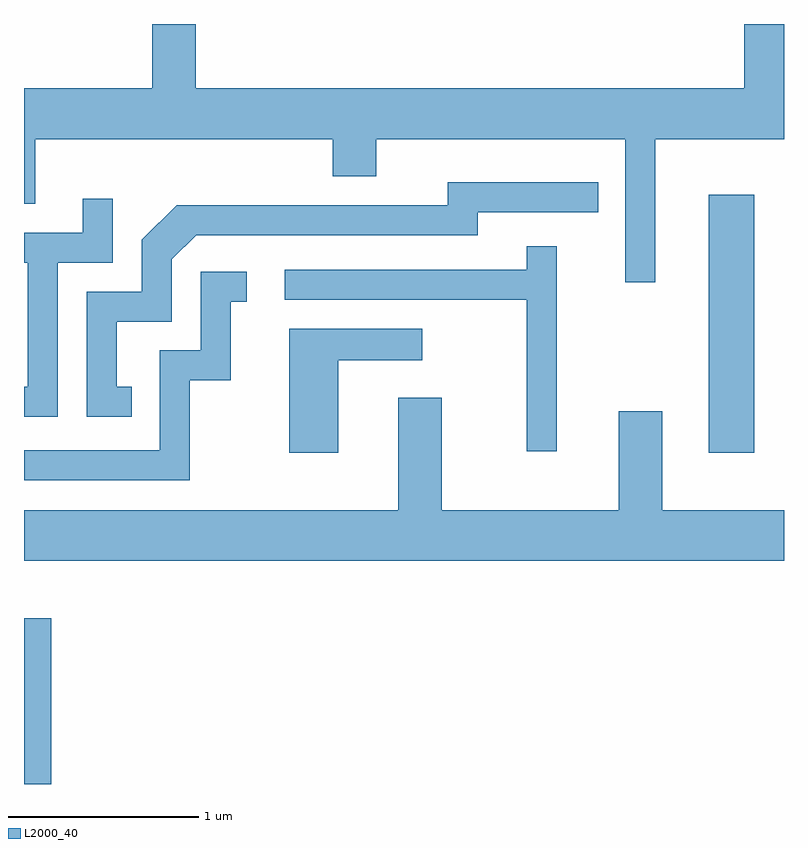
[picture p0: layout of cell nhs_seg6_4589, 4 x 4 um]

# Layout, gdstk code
import gdstk
lib = gdstk.Library(unit=1e-6, precision=1e-09)
def R(c, l, rs):  # rectangles x0, y0, x1, y1
    for r in rs: c.add(gdstk.rectangle(r[:2], r[2:], *l))
def P(c, l, *ps):  # polygons
    for p in ps: c.add(gdstk.Polygon(p, *l))
L2000_40 = (2000, 40)

nhs_seg6_4589 = lib.new_cell('nhs_seg6_4589')
R(nhs_seg6_4589, L2000_40, [(325.611,1582.162,325.754,1583.034), (329.216,1583.906,329.454,1585.264)])
P(nhs_seg6_4589, L2000_40, [(328.934,1585.556),(329.611,1585.556),(329.611,1586.162),(329.401,1586.162),(329.401,1585.824),(326.514,1585.824),(326.514,1586.162),(326.286,1586.162),(326.286,1585.824),(325.611,1585.824),(325.611,1585.216),(325.669,1585.216),(325.669,1585.556),(327.236,1585.556),(327.236,1585.361),(327.464,1585.361),(327.464,1585.556),(328.776,1585.556),(328.776,1584.803),(328.934,1584.803)],
  [(326.178,1584.254),(326.099,1584.254),(326.099,1584.596),(326.389,1584.596),(326.389,1584.924),(326.517,1585.051),(327.999,1585.051),(327.999,1585.171),(328.633,1585.171),(328.633,1585.329),(327.841,1585.329),(327.841,1585.209),(326.414,1585.209),(326.231,1585.027),(326.231,1584.754),(325.941,1584.754),(325.941,1584.096),(326.178,1584.096)],
  [(325.789,1584.906),(326.079,1584.906),(326.079,1585.243),(325.921,1585.243),(325.921,1585.064),(325.611,1585.064),(325.611,1584.906),(325.631,1584.906),(325.631,1584.254),(325.611,1584.254),(325.611,1584.096),(325.789,1584.096)],
  [(328.414,1584.993),(328.256,1584.993),(328.256,1584.869),(326.983,1584.869),(326.983,1584.711),(328.256,1584.711),(328.256,1583.913),(328.414,1583.913)],
  [(326.484,1584.286),(326.699,1584.286),(326.699,1584.701),(326.783,1584.701),(326.783,1584.859),(326.541,1584.859),(326.541,1584.444),(326.326,1584.444),(326.326,1583.919),(325.611,1583.919),(325.611,1583.761),(326.484,1583.761)],
  [(327.264,1584.391),(327.708,1584.391),(327.708,1584.559),(327.006,1584.559),(327.006,1583.906),(327.264,1583.906)],
  [(329.611,1583.604),(328.969,1583.604),(328.969,1584.124),(328.741,1584.124),(328.741,1583.604),(327.809,1583.604),(327.809,1584.194),(327.581,1584.194),(327.581,1583.604),(325.611,1583.604),(325.611,1583.336),(329.611,1583.336)])

lib.write_gds('nhs_seg6_4589.gds')
